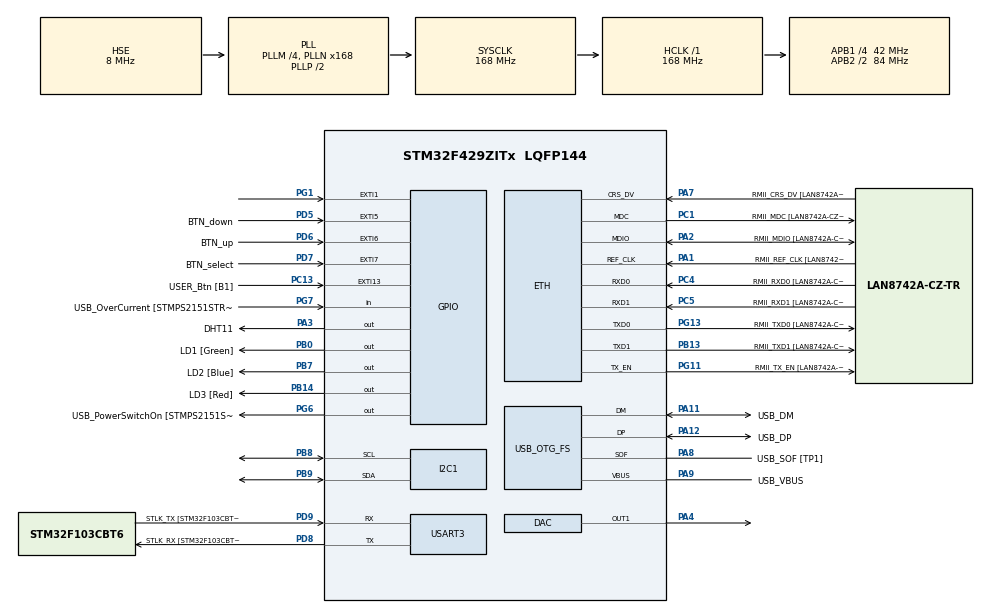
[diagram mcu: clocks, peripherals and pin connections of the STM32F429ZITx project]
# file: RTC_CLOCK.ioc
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ADC1.Channel-1\#ChannelRegularConversion=ADC_CHANNEL_TEMPSENSOR
ADC1.NbrOfConversionFlag=1
ADC1.Rank-1\#ChannelRegularConversion=1
ADC1.SamplingTime-1\#ChannelRegularConversion=ADC_SAMPLETIME_3CYCLES
ADC1.master=1
ETH.MediaInterface=HAL_ETH_RMII_MODE
ETH.PHY_Name=LAN8742A_PHY_ADDRESS
ETH.PHY_Value=0
ETH.PhyAddress=0
Mcu.Family=STM32F4
Mcu.Name=STM32F429ZITx
Mcu.Package=LQFP144
NVIC.EXTI15_10_IRQn=true\:0\:0\:false\:true\:true\:3\:true\:true\:true
NVIC.EXTI1_IRQn=true\:0\:0\:false\:true\:true\:1\:true\:true\:true
NVIC.EXTI9_5_IRQn=true\:0\:0\:false\:true\:true\:2\:true\:true\:true
NVIC.PriorityGroup=NVIC_PRIORITYGROUP_4
PA1.GPIO_Label=RMII_REF_CLK [LAN8742A-CZ-TR_REFCLK0]
PA1.Mode=RMII
PA1.Signal=ETH_REF_CLK
PA10.GPIO_Label=USB_ID
PA10.Signal=USB_OTG_FS_ID
PA11.GPIO_Label=USB_DM
PA11.Mode=Device_Only
PA11.Signal=USB_OTG_FS_DM
PA12.GPIO_Label=USB_DP
PA12.Mode=Device_Only
PA12.Signal=USB_OTG_FS_DP
PA13.GPIO_Label=TMS
PA13.Mode=Serial_Wire
PA13.Signal=SYS_JTMS-SWDIO
PA14.GPIO_Label=TCK
PA14.Mode=Serial_Wire
PA14.Signal=SYS_JTCK-SWCLK
PA2.GPIO_Label=RMII_MDIO [LAN8742A-CZ-TR_MDIO]
PA2.Mode=RMII
PA2.Signal=ETH_MDIO
PA3.GPIO_Label=DHT11
PA3.GPIO_ModeDefaultOutputPP=GPIO_MODE_OUTPUT_PP
PA3.PinState=GPIO_PIN_SET
PA3.Signal=GPIO_Output
PA4.Signal=COMP_DAC1_group
PA7.GPIO_Label=RMII_CRS_DV [LAN8742A-CZ-TR_CRS_DV]
PA7.Mode=RMII
PA7.Signal=ETH_CRS_DV
PA8.GPIO_Label=USB_SOF [TP1]
PA8.Mode=Activate_SOF_FS
PA8.Signal=USB_OTG_FS_SOF
PA9.GPIO_Label=USB_VBUS
PA9.Mode=Activate_VBUS
PA9.Signal=USB_OTG_FS_VBUS
PB0.GPIO_Label=LD1 [Green]
PB0.Signal=GPIO_Output
PB13.GPIO_Label=RMII_TXD1 [LAN8742A-CZ-TR_TXD1]
PB13.Mode=RMII
PB13.Signal=ETH_TXD1
PB14.GPIO_Label=LD3 [Red]
PB14.Signal=GPIO_Output
PB7.GPIO_Label=LD2 [Blue]
PB7.Signal=GPIO_Output
PB8.Mode=I2C
PB8.Signal=I2C1_SCL
PB9.Mode=I2C
PB9.Signal=I2C1_SDA
PC1.GPIO_Label=RMII_MDC [LAN8742A-CZ-TR_MDC]
PC1.Mode=RMII
PC1.Signal=ETH_MDC
PC13.GPIO_Label=USER_Btn [B1]
PC13.Signal=GPXTI13
PC14/OSC32_IN.Mode=LSE-External-Oscillator
PC14/OSC32_IN.Signal=RCC_OSC32_IN
PC15/OSC32_OUT.Mode=LSE-External-Oscillator
PC15/OSC32_OUT.Signal=RCC_OSC32_OUT
PC4.GPIO_Label=RMII_RXD0 [LAN8742A-CZ-TR_RXD0]
PC4.Mode=RMII
PC4.Signal=ETH_RXD0
PC5.GPIO_Label=RMII_RXD1 [LAN8742A-CZ-TR_RXD1]
PC5.Mode=RMII
PC5.Signal=ETH_RXD1
PD5.GPIO_Label=BTN_down
PD5.GPIO_PuPd=GPIO_PULLUP
PD5.Signal=GPXTI5
PD6.GPIO_Label=BTN_up
PD6.GPIO_PuPd=GPIO_PULLUP
PD6.Signal=GPXTI6
PD7.GPIO_Label=BTN_select
PD7.GPIO_PuPd=GPIO_PULLUP
PD7.Signal=GPXTI7
PD8.GPIO_Label=STLK_RX [STM32F103CBT6_PA3]
PD8.Mode=Asynchronous
PD8.Signal=USART3_TX
PD9.GPIO_Label=STLK_TX [STM32F103CBT6_PA2]
PD9.Mode=Asynchronous
PD9.Signal=USART3_RX
PG1.GPIO_PuPd=GPIO_PULLUP
PG1.Signal=GPXTI1
PG11.GPIO_Label=RMII_TX_EN [LAN8742A-CZ-TR_TXEN]
PG11.Mode=RMII
PG11.Signal=ETH_TX_EN
PG13.GPIO_Label=RMII_TXD0 [LAN8742A-CZ-TR_TXD0]
PG13.Mode=RMII
PG13.Signal=ETH_TXD0
PG6.GPIO_Label=USB_PowerSwitchOn [STMPS2151STR_EN]
PG6.Signal=GPIO_Output
PG7.GPIO_Label=USB_OverCurrent [STMPS2151STR_FAULT]
PG7.Signal=GPIO_Input
PH0/OSC_IN.GPIO_Label=MCO [STM32F103CBT6_PA8]
PH0/OSC_IN.Mode=HSE-External-Clock-Source
PH0/OSC_IN.Signal=RCC_OSC_IN
PH1/OSC_OUT.Mode=HSE-External-Clock-Source
PH1/OSC_OUT.Signal=RCC_OSC_OUT
ProjectManager.HeapSize=0x200
ProjectManager.StackSize=0x400
ProjectManager.TargetToolchain=STM32CubeIDE
RCC.48MHZClocksFreq_Value=48000000
RCC.AHBFreq_Value=168000000
RCC.APB1CLKDivider=RCC_HCLK_DIV4
RCC.APB1Freq_Value=42000000
RCC.APB1TimFreq_Value=84000000
RCC.APB2CLKDivider=RCC_HCLK_DIV2
RCC.APB2Freq_Value=84000000
RCC.APB2TimCLKDivider=2
RCC.APB2TimFreq_Value=168000000
RCC.CortexFreq_Value=168000000
RCC.HCLKFreq_Value=168000000
RCC.HSE_VALUE=8000000
RCC.HSI_VALUE=16000000
RCC.PLLM=4
RCC.PLLMUL=RCC_PLL_MUL9
RCC.PLLN=168
RCC.PLLQ=7
RCC.PRESCALERUSB=RCC_USBCLKSOURCE_PLL_DIV1_5
RCC.RCC_RTC_Clock_Source=RCC_RTCCLKSOURCE_LSE
RCC.RCC_RTC_Clock_SourceVirtual=RCC_RTCCLKSOURCE_LSE
RCC.SYSCLKFreq_VALUE=168000000
RCC.SYSCLKSource=RCC_SYSCLKSOURCE_PLLCLK
RCC.SYSCLKSourceVirtual=RCC_SYSCLKSOURCE_PLLCLK
RCC.USBFreq_Value=48000000
RCC.VCOOutputFreq_Value=336000000
RTC.Date=1
RTC.Format=RTC_FORMAT_BCD
RTC.HourFormat=RTC_HOURFORMAT_12
RTC.Hours=12
RTC.Month=RTC_MONTH_NOVEMBER
RTC.StoreOperation=RTC_STOREOPERATION_RESET
RTC.WeekDay=RTC_WEEKDAY_WEDNESDAY
RTC.Year=23
SH.COMP_DAC1_group.0=DAC_OUT1,DAC_OUT1
TIM1.Period=0xffff-1
TIM1.Prescaler=168-1
USART3.VirtualMode=VM_ASYNC
USB_OTG_FS.VirtualMode=Device_Only
VP_ADC1_TempSens_Input.Mode=IN-TempSens
VP_RTC_VS_RTC_Activate.Mode=RTC_Enabled
VP_RTC_VS_RTC_Calendar.Mode=RTC_Calendar
VP_TIM1_VS_ClockSourceINT.Mode=Internal
board=NUCLEO-F429ZI

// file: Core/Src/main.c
/* USER CODE BEGIN Header */
/**
  ******************************************************************************
  * @file           : main.c
  * @brief          : Main program body
  ******************************************************************************
  * @attention
  *
  * Copyright (c) 2023 STMicroelectronics.
  * All rights reserved.
  *
  * This software is licensed under terms that can be found in the LICENSE file
  * in the root directory of this software component.
  * If no LICENSE file comes with this software, it is provided AS-IS.
  *
  ******************************************************************************
  */
/* USER CODE END Header */
#include "main.h"
#include "adc.h"
#include "dac.h"
#include "eth.h"
#include "i2c.h"
#include "rtc.h"
#include "tim.h"
#include "usart.h"
#include "usb_otg.h"
#include "gpio.h"

/* USER CODE BEGIN Includes */
#include "string.h"
#include "stdio.h"
/* USER CODE END Includes */

/* USER CODE BEGIN PTD */
RTC_DateTypeDef sDate;
RTC_TimeTypeDef sTime;
/* USER CODE END PTD */

/* USER CODE BEGIN PD */
#define LCD_ADDR (0x27 << 1)
/* USER CODE END PD */

/* USER CODE BEGIN PV */
char uart_buf[70];
char showTime[30] = {0};
char showDate[30] = {0};
char ampm[2][3] = {"AM", "PM"};

static uint8_t selection = 0; // hour, minute, second select
/* USER CODE END PV */

void SystemClock_Config(void);
static void MX_NVIC_Init(void);
/* USER CODE BEGIN PFP */
void LCD_Init(uint8_t lcd_addr);
void LCD_SendCommand(uint8_t lcd_addr, uint8_t cmd);
void LCD_SendString(uint8_t lcd_addr, char *str);
/* USER CODE END PFP */

/* USER CODE BEGIN 0 */
void get_time(void)
{
	HAL_RTC_GetTime(&hrtc, &sTime, RTC_FORMAT_BIN);
	HAL_RTC_GetDate(&hrtc, &sDate, RTC_FORMAT_BIN);

	if (strcmp(ampm[sTime.TimeFormat], "AM") == 0 && sTime.Hours == 12)
	{
		sTime.Hours = 0;
	}

	if (selection == 0)
		sprintf((char*)showDate, "%04d-%02d-%02d      ", 2000+sDate.Year, sDate.Month, sDate.Date);
	else if (selection == 1)
		sprintf((char*)showDate, "%04d-%02d-%02d[HOUR]", 2000+sDate.Year, sDate.Month, sDate.Date);
	else if (selection == 2)
	    sprintf((char*)showDate, "%04d-%02d-%02d[MIN] ", 2000+sDate.Year, sDate.Month, sDate.Date);
	else if (selection == 3)
	    sprintf((char*)showDate, "%04d-%02d-%02d[SEC] ", 2000+sDate.Year, sDate.Month, sDate.Date);

	sprintf((char *)showTime, "%s %02d:%02d:%02d", ampm[sTime.TimeFormat], sTime.Hours, sTime.Minutes, sTime.Seconds);
}

uint8_t Rh_byte1, Rh_byte2, Temp_byte1, Temp_byte2;
uint16_t SUM, RH, TEMP;

float Temperature = 0;
float Humidity = 0;
uint8_t Presence = 0;

void delay_us(uint16_t time) {
	__HAL_TIM_SET_COUNTER(&htim1, 0);
	while((__HAL_TIM_GET_COUNTER(&htim1))<time);
}
void Set_Pin_Output (GPIO_TypeDef *GPIOx, uint16_t GPIO_Pin)
{
	GPIO_InitTypeDef GPIO_InitStruct = {0};
	GPIO_InitStruct.Pin = GPIO_Pin;
	GPIO_InitStruct.Mode = GPIO_MODE_OUTPUT_PP;
	GPIO_InitStruct.Speed = GPIO_SPEED_FREQ_LOW;
	HAL_GPIO_Init(GPIOx, &GPIO_InitStruct);
}

void Set_Pin_Input (GPIO_TypeDef *GPIOx, uint16_t GPIO_Pin)
{
	GPIO_InitTypeDef GPIO_InitStruct = {0};
	GPIO_InitStruct.Pin = GPIO_Pin;
	GPIO_InitStruct.Mode = GPIO_MODE_INPUT;
	GPIO_InitStruct.Pull = GPIO_PULLUP;
	HAL_GPIO_Init(GPIOx, &GPIO_InitStruct);
}
void DHT11_Start (void)
{
	Set_Pin_Output (DHT11_GPIO_Port, DHT11_Pin);  // set the pin as output
	HAL_GPIO_WritePin (DHT11_GPIO_Port, DHT11_Pin, 0);   // pull the pin low
	delay_us(18000);   // wait for 18ms
	Set_Pin_Input(DHT11_GPIO_Port, DHT11_Pin);    // set as input
}
uint8_t DHT11_Check_Response (void)
{
	uint8_t Response = 0;
	delay_us (40);
	if (!(HAL_GPIO_ReadPin (DHT11_GPIO_Port, DHT11_Pin)))
	{
		delay_us (80);
		if ((HAL_GPIO_ReadPin (DHT11_GPIO_Port, DHT11_Pin))) Response = 1;
		else Response = -1;
	}
	while ((HAL_GPIO_ReadPin (DHT11_GPIO_Port, DHT11_Pin)));   // wait for the pin to go low

	return Response;
}
uint8_t DHT11_Read (void)
{
	uint8_t i,j;
	for (j=0;j<8;j++)
	{
		while (!(HAL_GPIO_ReadPin (DHT11_GPIO_Port, DHT11_Pin)));   // wait for the pin to go high
		delay_us (40);   // wait for 40 us
		if (!(HAL_GPIO_ReadPin (DHT11_GPIO_Port, DHT11_Pin)))   // if the pin is low
		{
			i&= ~(1<<(7-j));   // write 0
		}
		else i|= (1<<(7-j));  // if the pin is high, write 1
		while ((HAL_GPIO_ReadPin (DHT11_GPIO_Port, DHT11_Pin)));  // wait for the pin to go low
	}
	return i;
}
/* USER CODE END 0 */

int main(void)
{

  /* MCU Configuration--------------------------------------------------------*/

  /* Reset of all peripherals, Initializes the Flash interface and the Systick. */
  HAL_Init();

  /* Configure the system clock */
  SystemClock_Config();

  /* Initialize all configured peripherals */
  MX_GPIO_Init();
  MX_ETH_Init();
  MX_USART3_UART_Init();
  MX_USB_OTG_FS_PCD_Init();
  MX_RTC_Init();
  MX_I2C1_Init();
  MX_ADC1_Init();
  MX_TIM1_Init();
  MX_DAC_Init();

  /* Initialize interrupts */
  MX_NVIC_Init();
  /* USER CODE BEGIN 2 */
  LCD_Init(LCD_ADDR);
  HAL_TIM_Base_Start(&htim1);
  /* USER CODE END 2 */

  /* Infinite loop */
  /* USER CODE BEGIN WHILE */
  while (1)
  {
//	  DHT11_Start();
//	  Presence = DHT11_Check_Response();
//	  Rh_byte1 = DHT11_Read ();
//	  Rh_byte2 = DHT11_Read ();
//	  Temp_byte1 = DHT11_Read ();
//	  Temp_byte2 = DHT11_Read ();
//	  SUM = DHT11_Read();
//
//	  TEMP = Temp_byte1;
//	  RH = Rh_byte1;
//
//	  Temperature = (float) TEMP;
//	  Humidity = (float) RH;
//
//	  char dhtvalue[30];
//	  sprintf(dhtvalue, "%3.1f, %2.1f        ", Temperature, Humidity);
//
//	  get_time();
//
//	  LCD_SendCommand(LCD_ADDR, 0b10000000);
//	  LCD_SendString(LCD_ADDR, dhtvalue);
//
//
//	  LCD_SendCommand(LCD_ADDR, 0b11000000);
//	  LCD_SendString(LCD_ADDR, showTime);

	  get_time();

	  memset(uart_buf, 0, sizeof(uart_buf));
	  sprintf(uart_buf, "%s\t\r\n%s\t\r\n", showDate, showTime);
	  HAL_UART_Transmit(&huart3, (uint8_t *)uart_buf, strlen(uart_buf), 10000);

	  LCD_SendCommand(LCD_ADDR, 0b10000000);
	  LCD_SendString(LCD_ADDR, showDate);

	  LCD_SendCommand(LCD_ADDR, 0b11000000);
	  LCD_SendString(LCD_ADDR, showTime);
    /* USER CODE END WHILE */

  }
}

void SystemClock_Config(void)
{
  RCC_OscInitTypeDef RCC_OscInitStruct = {0};
  RCC_ClkInitTypeDef RCC_ClkInitStruct = {0};

  /** Configure the main internal regulator output voltage
  */
  __HAL_RCC_PWR_CLK_ENABLE();
  __HAL_PWR_VOLTAGESCALING_CONFIG(PWR_REGULATOR_VOLTAGE_SCALE1);

  /** Initializes the RCC Oscillators according to the specified parameters
  * in the RCC_OscInitTypeDef structure.
  */
  RCC_OscInitStruct.OscillatorType = RCC_OSCILLATORTYPE_HSE|RCC_OSCILLATORTYPE_LSE;
  RCC_OscInitStruct.HSEState = RCC_HSE_BYPASS;
  RCC_OscInitStruct.LSEState = RCC_LSE_ON;
  RCC_OscInitStruct.PLL.PLLState = RCC_PLL_ON;
  RCC_OscInitStruct.PLL.PLLSource = RCC_PLLSOURCE_HSE;
  RCC_OscInitStruct.PLL.PLLM = 4;
  RCC_OscInitStruct.PLL.PLLN = 168;
  RCC_OscInitStruct.PLL.PLLP = RCC_PLLP_DIV2;
  RCC_OscInitStruct.PLL.PLLQ = 7;
  if (HAL_RCC_OscConfig(&RCC_OscInitStruct) != HAL_OK)
  {
    Error_Handler();
  }

  /** Initializes the CPU, AHB and APB buses clocks
  */
  RCC_ClkInitStruct.ClockType = RCC_CLOCKTYPE_HCLK|RCC_CLOCKTYPE_SYSCLK
                              |RCC_CLOCKTYPE_PCLK1|RCC_CLOCKTYPE_PCLK2;
  RCC_ClkInitStruct.SYSCLKSource = RCC_SYSCLKSOURCE_PLLCLK;
  RCC_ClkInitStruct.AHBCLKDivider = RCC_SYSCLK_DIV1;
  RCC_ClkInitStruct.APB1CLKDivider = RCC_HCLK_DIV4;
  RCC_ClkInitStruct.APB2CLKDivider = RCC_HCLK_DIV2;

  if (HAL_RCC_ClockConfig(&RCC_ClkInitStruct, FLASH_LATENCY_5) != HAL_OK)
  {
    Error_Handler();
  }
}

/**
  * @brief NVIC Configuration.
  * @retval None
  */
static void MX_NVIC_Init(void)
{
  /* EXTI1_IRQn interrupt configuration */
  HAL_NVIC_SetPriority(EXTI1_IRQn, 0, 0);
  HAL_NVIC_EnableIRQ(EXTI1_IRQn);
  /* EXTI9_5_IRQn interrupt configuration */
  HAL_NVIC_SetPriority(EXTI9_5_IRQn, 0, 0);
  HAL_NVIC_EnableIRQ(EXTI9_5_IRQn);
  /* EXTI15_10_IRQn interrupt configuration */
  HAL_NVIC_SetPriority(EXTI15_10_IRQn, 0, 0);
  HAL_NVIC_EnableIRQ(EXTI15_10_IRQn);
}

/* USER CODE BEGIN 4 */
void HAL_GPIO_EXTI_Callback(uint16_t GPIO_Pin)
{
	static uint32_t before_tick = 0;

	if (GPIO_Pin == GPIO_PIN_1)
	{
		if (HAL_GetTick() - before_tick >= 300)
		{
			before_tick = HAL_GetTick();

			selection++;

			if (selection > 3)
				selection = 0;
		}
	}

	else if (GPIO_Pin == GPIO_PIN_6)
	{
		if (HAL_GetTick() - before_tick >= 300)
		{
			before_tick = HAL_GetTick();

			if (selection == 1) // hour select
			{
				sTime.Hours++;

				if (sTime.Hours == 12)
				{
					if (strcmp(ampm[sTime.TimeFormat], "AM") == 0)
					{
						strcpy(ampm[sTime.TimeFormat], "PM");
						sTime.Hours = 12;
					}
					else
					{
						strcpy(ampm[sTime.TimeFormat], "AM");
						sTime.Hours = 0;
					}
				}
				else if (sTime.Hours > 12)
				{
					sTime.Hours = 1;
				}
			}
			else if (selection == 2) // minutes select
			{
				sTime.Minutes++;

				if (sTime.Minutes > 59)
					sTime.Minutes = 0;
			}
			else if (selection == 3) // second select
			{
				sTime.Seconds++;

				if (sTime.Seconds > 59)
					sTime.Seconds = 0;
			}
			HAL_RTC_SetTime(&hrtc, &sTime, RTC_FORMAT_BIN);
		}
	}

	else if (GPIO_Pin == GPIO_PIN_5)
	{
		if (HAL_GetTick() - before_tick >= 300)
		{
			before_tick = HAL_GetTick();

			if (selection == 1)
			{
				if (sTime.Hours == 0)
				{
					if (strcmp(ampm[sTime.TimeFormat], "AM") == 0)
					{
						strcpy(ampm[sTime.TimeFormat], "PM");
						sTime.Hours = 11;
					}
					else
					{
						strcpy(ampm[sTime.TimeFormat], "AM");
						sTime.Hours = 11;
					}
				}
				else if (strcmp(ampm[sTime.TimeFormat], "PM") == 0 && sTime.Hours == 1)
				{
					sTime.Hours = 12;
				}
				else if (strcmp(ampm[sTime.TimeFormat], "PM") == 0 && sTime.Hours == 12)
				{
					strcpy(ampm[sTime.TimeFormat], "AM");
					sTime.Hours = 11;
				}
				else
				{
					sTime.Hours--;
				}
			}
			else if (selection == 2)
			{
				if (sTime.Minutes == 0)
					sTime.Minutes = 59;
				else
					sTime.Minutes--;
			}
			else if (selection == 3)
			{
				if (sTime.Seconds == 0)
					sTime.Seconds = 59;
				else
					sTime.Seconds--;
			}
			HAL_RTC_SetTime(&hrtc, &sTime, RTC_FORMAT_BIN);
		}
	}
}
/* USER CODE END 4 */

void Error_Handler(void)
{
  __disable_irq();
  while (1)
  {
  }
}
